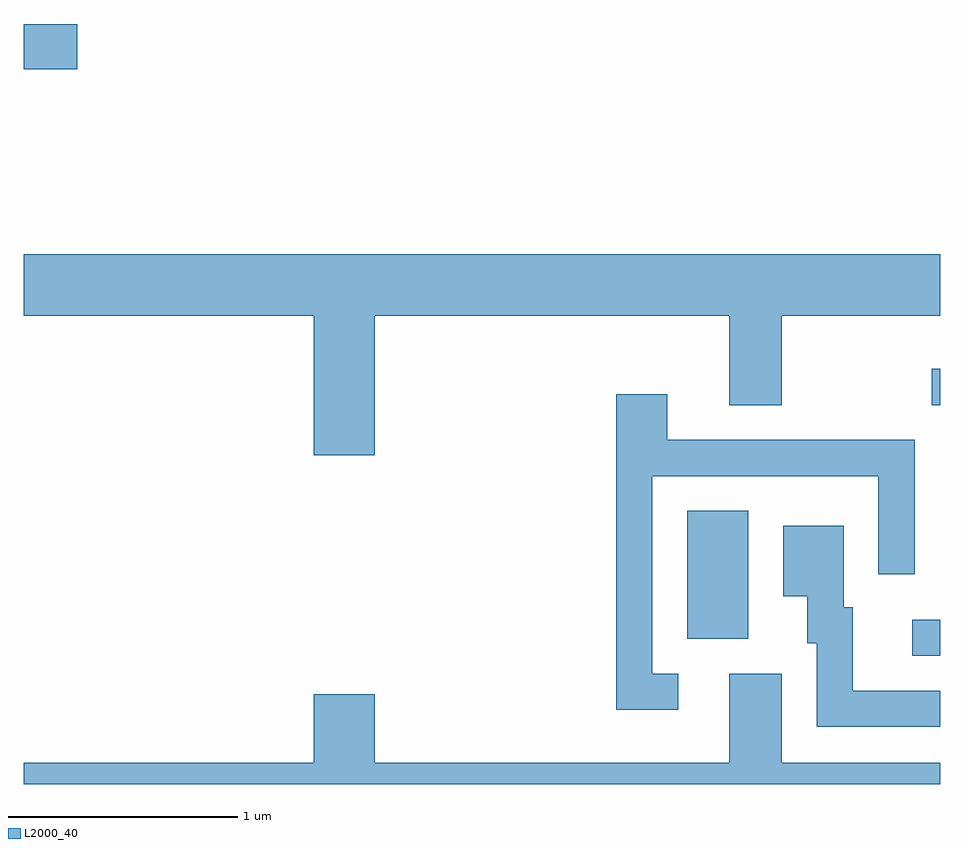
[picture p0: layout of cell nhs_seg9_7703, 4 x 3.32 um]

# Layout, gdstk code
import gdstk
lib = gdstk.Library(unit=1e-6, precision=1e-09)
def R(c, l, rs):  # rectangles x0, y0, x1, y1
    for r in rs: c.add(gdstk.rectangle(r[:2], r[2:], *l))
def P(c, l, *ps):  # polygons
    for p in ps: c.add(gdstk.Polygon(p, *l))
L2000_40 = (2000, 40)

nhs_seg9_7703 = lib.new_cell('nhs_seg9_7703')
R(nhs_seg9_7703, L2000_40, [(417.488,1996.991,417.611,1997.149), (416.506,1997.066,416.774,1997.624), (417.573,1998.086,417.611,1998.244), (413.611,1999.551,413.844,1999.749)])
P(nhs_seg9_7703, L2000_40, [(415.144,1998.476),(416.691,1998.476),(416.691,1998.086),(416.919,1998.086),(416.919,1998.476),(417.611,1998.476),(417.611,1998.744),(413.611,1998.744),(413.611,1998.476),(414.876,1998.476),(414.876,1997.866),(415.144,1997.866)],
  [(416.468,1996.914),(416.354,1996.914),(416.354,1997.776),(417.341,1997.776),(417.341,1997.348),(417.499,1997.348),(417.499,1997.934),(416.419,1997.934),(416.419,1998.134),(416.196,1998.134),(416.196,1996.756),(416.468,1996.756)],
  [(417.611,1996.839),(417.229,1996.839),(417.229,1997.204),(417.189,1997.204),(417.189,1997.559),(416.926,1997.559),(416.926,1997.251),(417.031,1997.251),(417.031,1997.046),(417.071,1997.046),(417.071,1996.681),(417.611,1996.681)],
  [(417.611,1996.524),(416.919,1996.524),(416.919,1996.914),(416.691,1996.914),(416.691,1996.524),(415.144,1996.524),(415.144,1996.824),(414.876,1996.824),(414.876,1996.524),(413.611,1996.524),(413.611,1996.432),(417.611,1996.432)])

lib.write_gds('nhs_seg9_7703.gds')
